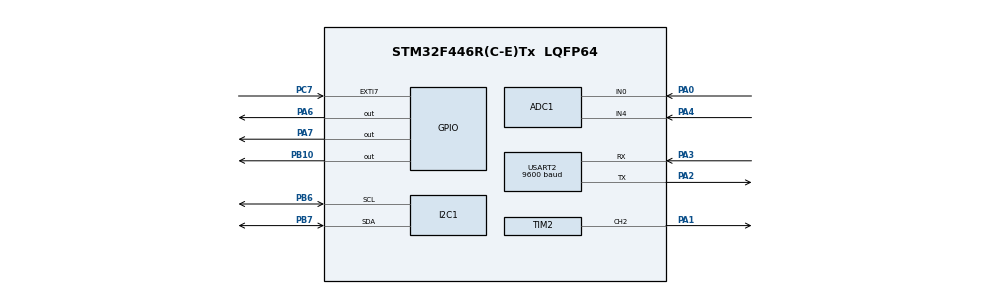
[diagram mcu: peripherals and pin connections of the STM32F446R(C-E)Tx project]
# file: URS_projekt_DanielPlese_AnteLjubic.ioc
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ADC1.Channel-0\#ChannelRegularConversion=ADC_CHANNEL_4
ADC1.Channel-1\#ChannelRegularConversion=ADC_CHANNEL_0
ADC1.NbrOfConversion=2
ADC1.NbrOfConversionFlag=1
ADC1.Rank-0\#ChannelRegularConversion=1
ADC1.Rank-1\#ChannelRegularConversion=2
ADC1.SamplingTime-0\#ChannelRegularConversion=ADC_SAMPLETIME_84CYCLES
ADC1.SamplingTime-1\#ChannelRegularConversion=ADC_SAMPLETIME_84CYCLES
ADC1.ScanConvMode=ENABLE
ADC1.master=1
I2C1.I2C_Mode=I2C_Fast
Mcu.Family=STM32F4
Mcu.Name=STM32F446R(C-E)Tx
Mcu.Package=LQFP64
NVIC.EXTI9_5_IRQn=true\:0\:0\:false\:false\:true\:true\:true\:true
NVIC.PriorityGroup=NVIC_PRIORITYGROUP_4
NVIC.TIM3_IRQn=true\:0\:0\:false\:false\:true\:true\:true\:true
PA0-WKUP.Signal=ADCx_IN0
PA1.Signal=S_TIM2_CH2
PA13.Mode=Serial_Wire
PA13.Signal=SYS_JTMS-SWDIO
PA14.Mode=Serial_Wire
PA14.Signal=SYS_JTCK-SWCLK
PA2.Mode=Asynchronous
PA2.Signal=USART2_TX
PA3.Mode=Asynchronous
PA3.Signal=USART2_RX
PA4.Signal=ADCx_IN4
PA6.Signal=GPIO_Output
PA7.Signal=GPIO_Output
PB10.Signal=GPIO_Output
PB6.Mode=I2C
PB6.Signal=I2C1_SCL
PB7.Mode=I2C
PB7.Signal=I2C1_SDA
PC7.GPIO_ModeDefaultEXTI=GPIO_MODE_IT_FALLING
PC7.GPIO_PuPd=GPIO_PULLUP
PC7.Signal=GPXTI7
ProjectManager.HeapSize=0x200
ProjectManager.StackSize=0x400
ProjectManager.TargetToolchain=STM32CubeIDE
RCC.CortexFreq_Value=16000000
RCC.USBFreq_Value=96000000
RCC.VCOOutputFreq_Value=192000000
SH.ADCx_IN0.0=ADC1_IN0,IN0
SH.ADCx_IN4.0=ADC1_IN4,IN4
SH.S_TIM2_CH2.0=TIM2_CH2,PWM Generation2 CH2
TIM2.Channel-PWM\ Generation2\ CH2=TIM_CHANNEL_2
TIM2.Period=999
TIM2.Prescaler=15
TIM2.Pulse-PWM\ Generation2\ CH2=500
TIM3.Period=999
TIM3.Prescaler=8399
USART2.BaudRate=9600
USART2.VirtualMode=VM_ASYNC
VP_TIM3_VS_ClockSourceINT.Mode=Internal
board=custom

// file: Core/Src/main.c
/* USER CODE BEGIN Header */
/**
  ******************************************************************************
  * @file           : main.c
  * @brief          : Main program body
  ******************************************************************************
  * @attention
  *
  * Copyright (c) 2026 STMicroelectronics.
  * All rights reserved.
  *
  * This software is licensed under terms that can be found in the LICENSE file
  * in the root directory of this software component.
  * If no LICENSE file comes with this software, it is provided AS-IS.
  *
  ******************************************************************************
  */
/* USER CODE END Header */
#include "main.h"
#include "adc.h"
#include "i2c.h"
#include "tim.h"
#include "usart.h"
#include "gpio.h"

/* USER CODE BEGIN Includes */
#include "ssd1306.h"
#include "ssd1306_fonts.h"
#include <stdio.h>
#include <math.h>
/* USER CODE END Includes */

/* USER CODE BEGIN PV */
uint16_t rawPot = 0;
uint16_t rawCurrent = 0;
uint16_t zeroCurrentRaw = 0; // Prema ovome se automatski ra�?una nula
float struja_A = 0.0f;

// Izmjena: motor_state mora biti volatile!
volatile uint8_t motor_state = 0;

// Nova zastavica za TIM3
volatile uint8_t timer_flag = 0;
/* USER CODE END PV */

void SystemClock_Config(void);

int main(void)
{

  /* MCU Configuration--------------------------------------------------------*/

  /* Reset of all peripherals, Initializes the Flash interface and the Systick. */
  HAL_Init();

  /* Configure the system clock */
  SystemClock_Config();

  /* Initialize all configured peripherals */
  MX_GPIO_Init();
  MX_TIM2_Init();
  MX_USART2_UART_Init();
  MX_ADC1_Init();
  MX_I2C1_Init();
  MX_TIM3_Init();
  /* USER CODE BEGIN 2 */
  uint16_t dutyCycle = 0;
  uint8_t brzina_postotak = 0;
  char oled_buffer[20];
  HAL_TIM_PWM_Start(&htim2, TIM_CHANNEL_2);
  ssd1306_Init();
  ssd1306_Fill(Black);
  ssd1306_UpdateScreen();

   HAL_GPIO_WritePin(GPIOA, GPIO_PIN_6, GPIO_PIN_SET);   // Crvena LED ON
   HAL_GPIO_WritePin(GPIOA, GPIO_PIN_7, GPIO_PIN_RESET); // Zelena LED OFF

   HAL_GPIO_WritePin(GPIOB, GPIO_PIN_10, GPIO_PIN_RESET);

    // Kalibracija nule za ACS712[cite: 4]
   uint32_t sumZero = 0;
   HAL_ADC_Start(&hadc1);
   for(int i = 0; i < 100; i++)
   	   {
          HAL_ADC_PollForConversion(&hadc1, 10); // Rank 1 (Pot
          HAL_ADC_PollForConversion(&hadc1, 10); // Rank 2 (ACS712)
          sumZero += HAL_ADC_GetValue(&hadc1);
          HAL_Delay(5);
      }
    HAL_ADC_Stop(&hadc1);

    zeroCurrentRaw = sumZero / 100;

    HAL_TIM_Base_Start_IT(&htim3);
  /* USER CODE END 2 */

  /* Infinite loop */
  /* USER CODE BEGIN WHILE */
	while (1) {
		// Izvršava se isklju�?ivo svakih 100 ms kada tajmer podigne zastavicu
		if (timer_flag == 1) {
			timer_flag = 0; // Odmah spusti zastavicu za idući ciklus

			// 1. ČITANJE ADC SENZORA (Potenciometar + Struja)
			HAL_ADC_Start(&hadc1);
			if (HAL_ADC_PollForConversion(&hadc1, 10) == HAL_OK) {
				rawPot = HAL_ADC_GetValue(&hadc1);
			}
			if (HAL_ADC_PollForConversion(&hadc1, 10) == HAL_OK) {
				rawCurrent = HAL_ADC_GetValue(&hadc1);
			}
			HAL_ADC_Stop(&hadc1);

			// Prora�?un struje
			float delta_V = (((float) rawCurrent - (float) zeroCurrentRaw)
					/ 4095.0f) * 3.3f;
			struja_A = fabsf(delta_V / 0.0925f);

			// 2. LOGIKA UPRAVLJANJA MOTOROM I LED-ICAMA
			if (motor_state == 1) {
				dutyCycle = ((float) rawPot) / 4095.0f * 1000.0f;
				brzina_postotak = dutyCycle / 10;

				HAL_GPIO_WritePin(GPIOA, GPIO_PIN_7, GPIO_PIN_SET); // Zelena ON
				HAL_GPIO_WritePin(GPIOA, GPIO_PIN_6, GPIO_PIN_RESET); // Crvena OFF
			} else {
				dutyCycle = 0;
				brzina_postotak = 0;

				HAL_GPIO_WritePin(GPIOA, GPIO_PIN_7, GPIO_PIN_RESET); // Zelena OFF
				HAL_GPIO_WritePin(GPIOA, GPIO_PIN_6, GPIO_PIN_SET); // Crvena ON
			}

			__HAL_TIM_SET_COMPARE(&htim2, TIM_CHANNEL_2, dutyCycle);

			// 3. OSVJEŽAVANJE OLED EKRANA
			ssd1306_Fill(Black);

			// STATUS
			ssd1306_SetCursor(10, 0);
			if (motor_state == 1) {
				ssd1306_WriteString("STATUS: ON", Font_7x10, White);
			} else {
				ssd1306_WriteString("STATUS: OFF", Font_7x10, White);
			}

			// BRZINA
			sprintf(oled_buffer, "BRZINA: %d %%", brzina_postotak);
			ssd1306_SetCursor(10, 10);
			ssd1306_WriteString(oled_buffer, Font_7x10, White);

			// STRUJA
			int32_t struja_mA = (int32_t) (struja_A * 1000.0f);
			sprintf(oled_buffer, "STRUJA: %ld mA", struja_mA);
			ssd1306_SetCursor(10, 20);
			ssd1306_WriteString(oled_buffer, Font_7x10, White);

			// Slanje podataka na ekran preko I2C
			ssd1306_UpdateScreen();
		}
    /* USER CODE END WHILE */

  }
}

void SystemClock_Config(void)
{
  RCC_OscInitTypeDef RCC_OscInitStruct = {0};
  RCC_ClkInitTypeDef RCC_ClkInitStruct = {0};

  /** Configure the main internal regulator output voltage
  */
  __HAL_RCC_PWR_CLK_ENABLE();
  __HAL_PWR_VOLTAGESCALING_CONFIG(PWR_REGULATOR_VOLTAGE_SCALE3);

  /** Initializes the RCC Oscillators according to the specified parameters
  * in the RCC_OscInitTypeDef structure.
  */
  RCC_OscInitStruct.OscillatorType = RCC_OSCILLATORTYPE_HSI;
  RCC_OscInitStruct.HSIState = RCC_HSI_ON;
  RCC_OscInitStruct.HSICalibrationValue = RCC_HSICALIBRATION_DEFAULT;
  RCC_OscInitStruct.PLL.PLLState = RCC_PLL_NONE;
  if (HAL_RCC_OscConfig(&RCC_OscInitStruct) != HAL_OK)
  {
    Error_Handler();
  }

  /** Initializes the CPU, AHB and APB buses clocks
  */
  RCC_ClkInitStruct.ClockType = RCC_CLOCKTYPE_HCLK|RCC_CLOCKTYPE_SYSCLK
                              |RCC_CLOCKTYPE_PCLK1|RCC_CLOCKTYPE_PCLK2;
  RCC_ClkInitStruct.SYSCLKSource = RCC_SYSCLKSOURCE_HSI;
  RCC_ClkInitStruct.AHBCLKDivider = RCC_SYSCLK_DIV1;
  RCC_ClkInitStruct.APB1CLKDivider = RCC_HCLK_DIV1;
  RCC_ClkInitStruct.APB2CLKDivider = RCC_HCLK_DIV1;

  if (HAL_RCC_ClockConfig(&RCC_ClkInitStruct, FLASH_LATENCY_0) != HAL_OK)
  {
    Error_Handler();
  }
}

/* USER CODE BEGIN 4 */
void HAL_GPIO_EXTI_Callback(uint16_t GPIO_Pin)
{
    static uint32_t last_interrupt_time = 0;
    uint32_t current_time = HAL_GetTick();

    if (GPIO_Pin == GPIO_PIN_7)
    {
        if (current_time - last_interrupt_time > 200)
        {
            motor_state = !motor_state;
            last_interrupt_time = current_time;
        }
    }
}

// Novi prekid za TIM3 (okida se svakih 100 ms)
void HAL_TIM_PeriodElapsedCallback(TIM_HandleTypeDef *htim)
{
    if (htim->Instance == TIM3)
    {
        timer_flag = 1; // Samo podižemo zastavicu, bez teških operacija u prekidu!
    }
}
/* USER CODE END 4 */

void Error_Handler(void)
{
  __disable_irq();
  while (1)
  {
  }
}
